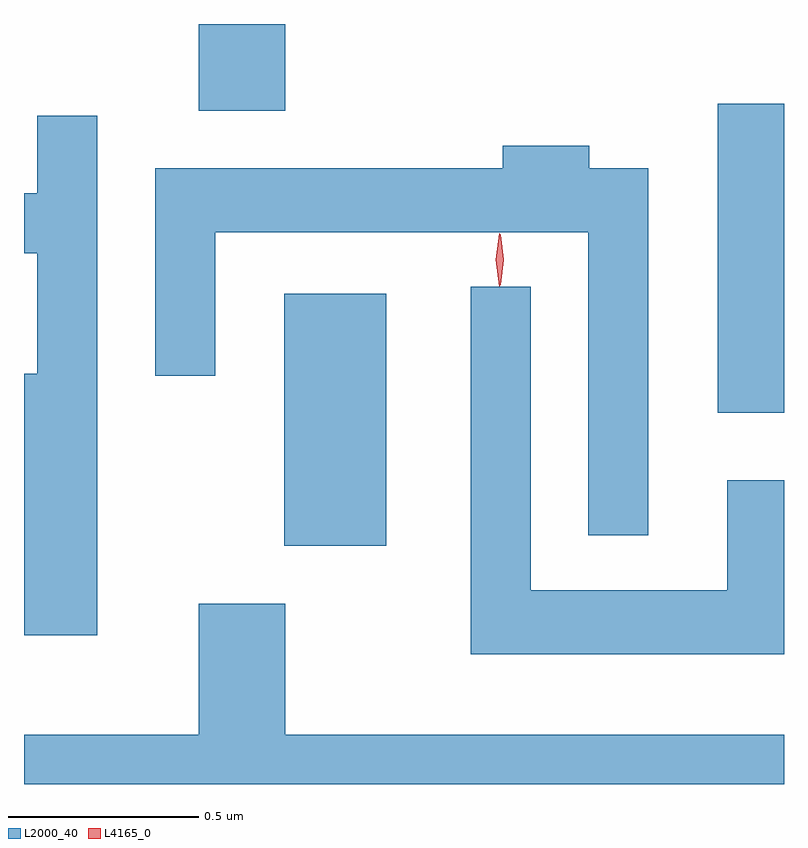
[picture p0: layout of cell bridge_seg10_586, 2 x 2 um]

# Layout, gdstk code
import gdstk
lib = gdstk.Library(unit=1e-6, precision=1e-09)
def R(c, l, rs):  # rectangles x0, y0, x1, y1
    for r in rs: c.add(gdstk.rectangle(r[:2], r[2:], *l))
def P(c, l, *ps):  # polygons
    for p in ps: c.add(gdstk.Polygon(p, *l))
L2000_40 = (2000, 40)
L4165_0 = (4165, 0)

bridge_seg10_586 = lib.new_cell('bridge_seg10_586')
R(bridge_seg10_586, L2000_40, [(769.156,2167.961,769.424,2168.624), (770.296,2168.311,770.471,2169.124), (768.931,2169.106,769.159,2169.334)])
P(bridge_seg10_586, L2000_40, [(768.664,2169.093),(768.506,2169.093),(768.506,2168.889),(768.471,2168.889),(768.471,2168.731),(768.506,2168.731),(768.506,2168.414),(768.471,2168.414),(768.471,2167.726),(768.664,2167.726)],
  [(770.114,2168.954),(769.959,2168.954),(769.959,2169.014),(769.731,2169.014),(769.731,2168.954),(768.816,2168.954),(768.816,2168.408),(768.974,2168.408),(768.974,2168.786),(769.956,2168.786),(769.956,2167.988),(770.114,2167.988)],
  [(770.471,2168.134),(770.321,2168.134),(770.321,2167.844),(769.804,2167.844),(769.804,2168.643),(769.646,2168.643),(769.646,2167.676),(770.471,2167.676)],
  [(770.471,2167.464),(769.159,2167.464),(769.159,2167.809),(768.931,2167.809),(768.931,2167.464),(768.471,2167.464),(768.471,2167.334),(770.471,2167.334)])
P(bridge_seg10_586, L4165_0, [(769.722,2168.644),(769.713,2168.713),(769.722,2168.782),(769.723,2168.783),(769.723,2168.782),(769.733,2168.713),(769.723,2168.644),(769.723,2168.644)],
  [(769.724,2168.647),(769.724,2168.648),(769.714,2168.714),(769.724,2168.78),(769.724,2168.781),(769.725,2168.78),(769.734,2168.714),(769.725,2168.648)])

lib.write_gds('bridge_seg10_586.gds')
